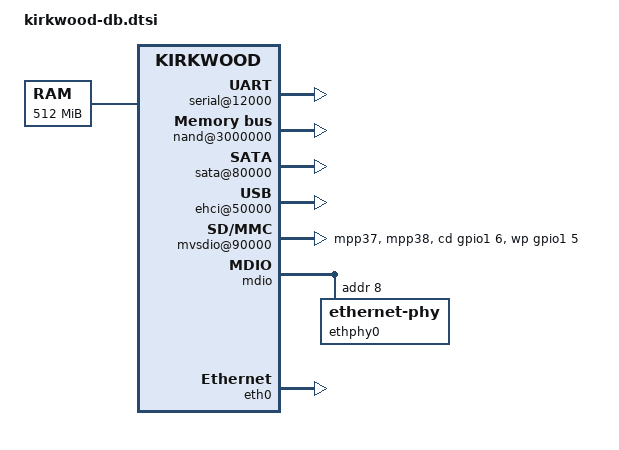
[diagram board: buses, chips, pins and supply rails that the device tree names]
/*
 * Marvell DB-{88F6281,88F6282}-BP Development Board Setup
 *
 * Saeed Bishara <saeed@marvell.com>
 * Thomas Petazzoni <thomas.petazzoni@free-electrons.com>
 *
 * This file is licensed under the terms of the GNU General Public
 * License version 2.  This program is licensed "as is" without any
 * warranty of any kind, whether express or implied.
 *
 * This file contains the definitions that are common between the 6281
 * and 6282 variants of the Marvell Kirkwood Development Board.
 */

#include "kirkwood.dtsi"

/ {
	memory {
		device_type = "memory";
		reg = <0x00000000 0x20000000>; /* 512 MB */
	};

	chosen {
		bootargs = "console=ttyS0,115200n8 earlyprintk";
	};

	ocp@f1000000 {
		pinctrl@10000 {
			pmx_sdio_gpios: pmx-sdio-gpios {
				marvell,pins = "mpp37", "mpp38";
				marvell,function = "gpio";
			};
		};

		serial@12000 {
			pinctrl-0 = <&pmx_uart0>;
			pinctrl-names = "default";
			clock-frequency = <200000000>;
			status = "ok";
		};

		nand@3000000 {
			pinctrl-0 = <&pmx_nand>;
			pinctrl-names = "default";
			chip-delay = <25>;
			status = "okay";

			partition@0 {
				label = "uboot";
				reg = <0x0 0x100000>;
			};

			partition@100000 {
				label = "uImage";
				reg = <0x100000 0x400000>;
			};

			partition@500000 {
				label = "root";
				reg = <0x500000 0x1fb00000>;
			};
		};

		sata@80000 {
			nr-ports = <2>;
			status = "okay";
		};

		ehci@50000 {
			status = "okay";
		};

		mvsdio@90000 {
			pinctrl-0 = <&pmx_sdio_gpios>;
			pinctrl-names = "default";
			wp-gpios = <&gpio1 5 0>;
			cd-gpios = <&gpio1 6 0>;
			status = "okay";
		};
	};
};

&mdio {
	status = "okay";

	ethphy0: ethernet-phy@8 {
		device_type = "ethernet-phy";
		reg = <8>;
	};
};

&eth0 {
	status = "okay";
	ethernet0-port@0 {
		phy-handle = <&ethphy0>;
	};
};
